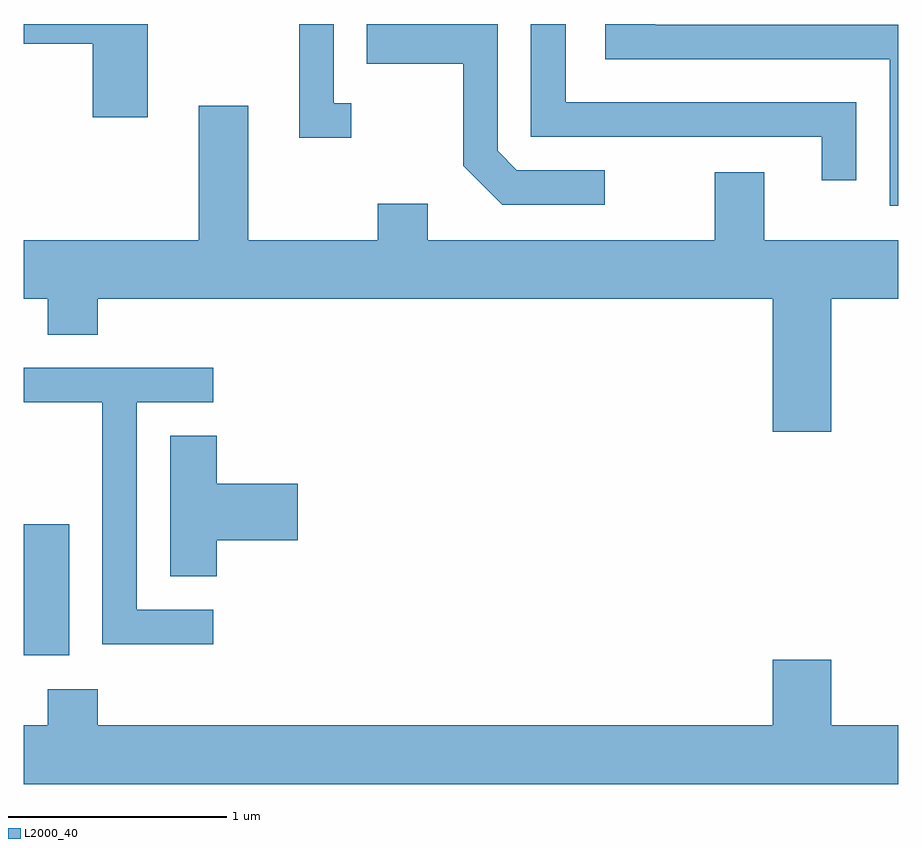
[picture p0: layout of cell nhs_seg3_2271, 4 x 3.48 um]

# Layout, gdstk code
import gdstk
lib = gdstk.Library(unit=1e-6, precision=1e-09)
def R(c, l, rs):  # rectangles x0, y0, x1, y1
    for r in rs: c.add(gdstk.rectangle(r[:2], r[2:], *l))
def P(c, l, *ps):  # polygons
    for p in ps: c.add(gdstk.Polygon(p, *l))
L2000_40 = (2000, 40)

nhs_seg3_2271 = lib.new_cell('nhs_seg3_2271')
R(nhs_seg3_2271, L2000_40, [(251.611,1171.006,251.819,1171.604)])
P(nhs_seg3_2271, L2000_40, [(255.419,1173.534),(254.089,1173.534),(254.089,1173.892),(253.931,1173.892),(253.931,1173.376),(255.261,1173.376),(255.261,1173.178),(255.419,1173.178)],
  [(253.108,1173.529),(253.029,1173.529),(253.029,1173.892),(252.871,1173.892),(252.871,1173.371),(253.108,1173.371)],
  [(252.179,1173.892),(251.611,1173.892),(251.611,1173.801),(251.926,1173.801),(251.926,1173.466),(252.179,1173.466)],
  [(255.611,1173.889),(254.499,1173.889),(254.499,1173.892),(254.271,1173.892),(254.271,1173.731),(255.571,1173.731),(255.571,1173.061),(255.611,1173.061)],
  [(254.268,1173.224),(253.867,1173.224),(253.779,1173.312),(253.779,1173.892),(253.181,1173.892),(253.181,1173.711),(253.621,1173.711),(253.621,1173.244),(253.799,1173.066),(254.268,1173.066)],
  [(255.304,1172.636),(255.611,1172.636),(255.611,1172.904),(254.999,1172.904),(254.999,1173.214),(254.771,1173.214),(254.771,1172.904),(253.459,1172.904),(253.459,1173.069),(253.231,1173.069),(253.231,1172.904),(252.639,1172.904),(252.639,1173.519),(252.411,1173.519),(252.411,1172.904),(251.611,1172.904),(251.611,1172.636),(251.721,1172.636),(251.721,1172.471),(251.949,1172.471),(251.949,1172.636),(255.036,1172.636),(255.036,1172.026),(255.304,1172.026)],
  [(252.478,1171.214),(252.129,1171.214),(252.129,1172.161),(252.478,1172.161),(252.478,1172.319),(251.611,1172.319),(251.611,1172.161),(251.971,1172.161),(251.971,1171.056),(252.478,1171.056)],
  [(252.494,1171.531),(252.864,1171.531),(252.864,1171.789),(252.494,1171.789),(252.494,1172.009),(252.281,1172.009),(252.281,1171.366),(252.494,1171.366)],
  [(255.611,1170.684),(255.304,1170.684),(255.304,1170.984),(255.036,1170.984),(255.036,1170.684),(251.949,1170.684),(251.949,1170.849),(251.721,1170.849),(251.721,1170.684),(251.611,1170.684),(251.611,1170.416),(255.611,1170.416)])

lib.write_gds('nhs_seg3_2271.gds')
